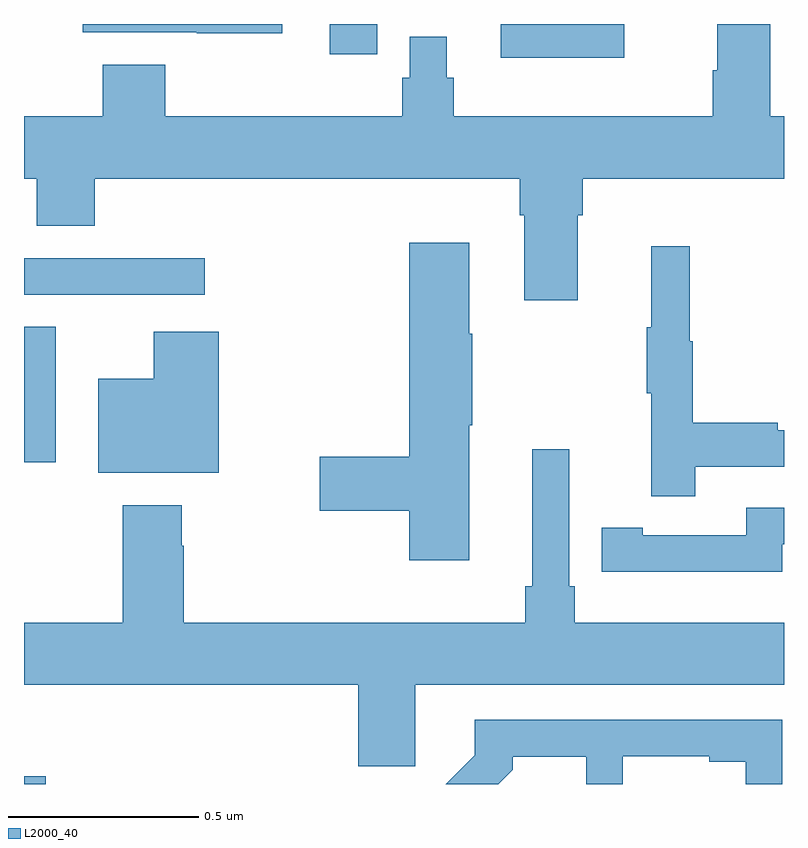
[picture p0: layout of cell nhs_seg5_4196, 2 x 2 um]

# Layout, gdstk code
import gdstk
lib = gdstk.Library(unit=1e-6, precision=1e-09)
def R(c, l, rs):  # rectangles x0, y0, x1, y1
    for r in rs: c.add(gdstk.rectangle(r[:2], r[2:], *l))
def P(c, l, *ps):  # polygons
    for p in ps: c.add(gdstk.Polygon(p, *l))
L2000_40 = (2000, 40)

nhs_seg5_4196 = lib.new_cell('nhs_seg5_4196')
R(nhs_seg5_4196, L2000_40, [(167,889.799,167.057,889.819), (167,890.646,167.083,891.002), (167,891.087,167.476,891.183), (168.255,891.71,168.579,891.799), (167.805,891.72,167.93,891.799)])
P(nhs_seg5_4196, L2000_40, [(168.457,891.296),(168.47,891.296),(168.47,891.392),(169,891.392),(169,891.556),(168.964,891.556),(168.964,891.799),(168.824,891.799),(168.824,891.677),(168.812,891.677),(168.812,891.556),(168.131,891.556),(168.131,891.657),(168.112,891.657),(168.112,891.766),(168.015,891.766),(168.015,891.657),(167.995,891.657),(167.995,891.556),(167.372,891.556),(167.372,891.692),(167.207,891.692),(167.207,891.556),(167,891.556),(167,891.392),(167.033,891.392),(167.033,891.268),(167.186,891.268),(167.186,891.392),(168.305,891.392),(168.305,891.296),(168.317,891.296),(168.317,891.072),(168.457,891.072)],
  [(167.68,891.799),(167.155,891.799),(167.155,891.777),(167.455,891.777),(167.455,891.775),(167.68,891.775)],
  [(168.172,890.743),(168.18,890.743),(168.18,890.984),(168.172,890.984),(168.172,891.223),(168.014,891.223),(168.014,890.66),(167.778,890.66),(167.778,890.518),(168.014,890.518),(168.014,890.388),(168.172,890.388)],
  [(168.767,890.634),(169,890.634),(169,890.73),(168.983,890.73),(168.983,890.75),(168.76,890.75),(168.76,890.964),(168.752,890.964),(168.752,891.214),(168.65,891.214),(168.65,891.001),(168.639,891.001),(168.639,890.827),(168.65,890.827),(168.65,890.556),(168.767,890.556)],
  [(167.513,890.989),(167.342,890.989),(167.342,890.866),(167.195,890.866),(167.195,890.618),(167.513,890.618)],
  [(168.03,890.06),(169,890.06),(169,890.224),(168.449,890.224),(168.449,890.32),(168.435,890.32),(168.435,890.68),(168.338,890.68),(168.338,890.32),(168.319,890.32),(168.319,890.224),(167.42,890.224),(167.42,890.426),(167.415,890.426),(167.415,890.533),(167.26,890.533),(167.26,890.224),(167,890.224),(167,890.06),(167.879,890.06),(167.879,889.846),(168.03,889.846)],
  [(168.996,890.43),(169,890.43),(169,890.526),(168.9,890.526),(168.9,890.454),(168.628,890.454),(168.628,890.474),(168.52,890.474),(168.52,890.358),(168.628,890.358),(168.628,890.357),(168.996,890.357)],
  [(168.286,889.837),(168.286,889.871),(168.48,889.871),(168.48,889.799),(168.576,889.799),(168.576,889.872),(168.803,889.872),(168.803,889.857),(168.899,889.857),(168.899,889.799),(168.996,889.799),(168.996,889.968),(168.186,889.968),(168.186,889.875),(168.11,889.799),(168.248,889.799)])

lib.write_gds('nhs_seg5_4196.gds')
